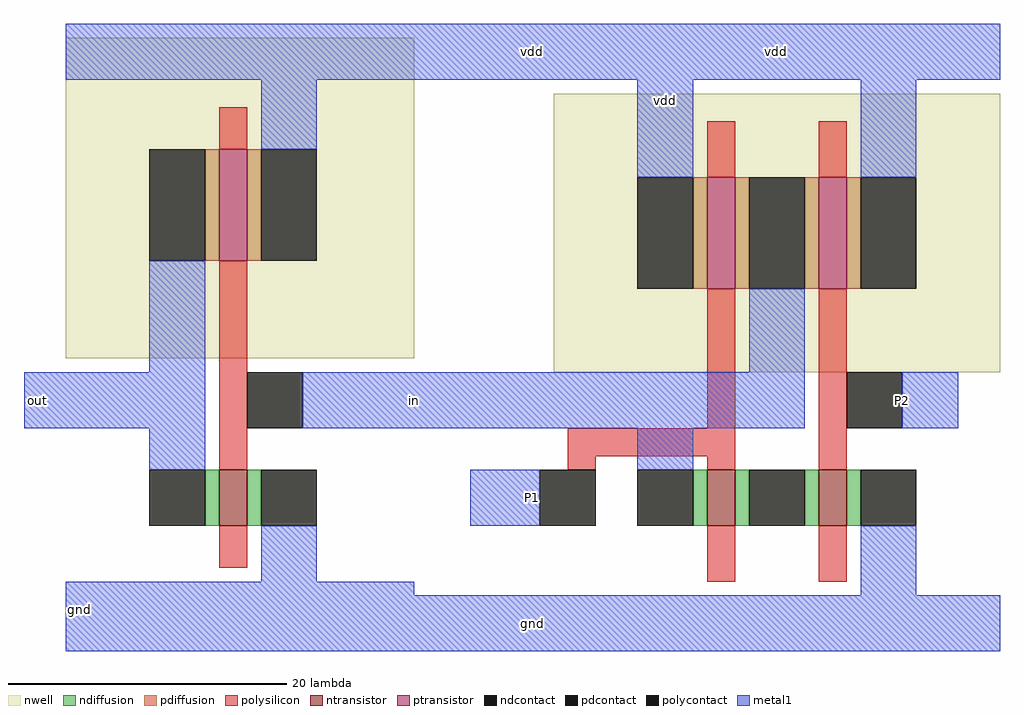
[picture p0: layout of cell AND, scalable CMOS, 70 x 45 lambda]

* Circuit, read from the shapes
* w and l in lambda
.subckt AND P1 P2 gnd in out vdd
M1 gnd in out VSUBS nfet w=4 l=2
M2 n1 P1 in VSUBS nfet w=4 l=2
M3 gnd P2 n1 VSUBS nfet w=4 l=2
M4 vdd in out n2 pfet w=8 l=2
M5 in P1 vdd n3 pfet w=8 l=2
M6 vdd P2 in n3 pfet w=8 l=2
.ends

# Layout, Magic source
magic
tech scmos
<< nwell >>
rect -29 25 -4 48
rect 6 24 38 44
<< ntransistor >>
rect -18 13 -16 17
rect 17 13 19 17
rect 25 13 27 17
<< ptransistor >>
rect -18 32 -16 40
rect 17 30 19 38
rect 25 30 27 38
<< ndiffusion >>
rect -19 13 -18 17
rect -16 13 -15 17
rect 16 13 17 17
rect 19 13 20 17
rect 24 13 25 17
rect 27 13 28 17
<< pdiffusion >>
rect -19 32 -18 40
rect -16 32 -15 40
rect 16 30 17 38
rect 19 30 20 38
rect 24 30 25 38
rect 27 30 28 38
<< ndcontact >>
rect -23 13 -19 17
rect -15 13 -11 17
rect 12 13 16 17
rect 20 13 24 17
rect 28 13 32 17
<< pdcontact >>
rect -23 32 -19 40
rect -15 32 -11 40
rect 12 30 16 38
rect 20 30 24 38
rect 28 30 32 38
<< polysilicon >>
rect -18 40 -16 43
rect 17 38 19 42
rect 25 38 27 42
rect -18 17 -16 32
rect 17 20 19 30
rect 7 18 19 20
rect 7 17 9 18
rect 17 17 19 18
rect 25 17 27 30
rect -18 10 -16 13
rect 17 9 19 13
rect 25 9 27 13
<< polycontact >>
rect -16 20 -12 24
rect 27 20 31 24
rect 5 13 9 17
<< metal1 >>
rect -29 45 38 49
rect -15 40 -11 45
rect 12 38 16 45
rect 28 38 32 45
rect -23 24 -19 32
rect 20 24 24 30
rect -32 20 -19 24
rect -12 20 24 24
rect 31 20 35 24
rect -23 17 -19 20
rect 12 17 16 20
rect 0 13 5 17
rect -15 9 -11 13
rect -29 8 -4 9
rect 28 8 32 13
rect -29 4 38 8
<< labels >>
rlabel metal1 27 20 35 24 1 P2
rlabel metal1 0 13 9 17 3 P1
rlabel metal1 -28 7 -28 7 2 gnd
rlabel metal1 -31 22 -31 22 3 out
rlabel metal1 -4 22 -4 22 7 in
rlabel metal1 6 45 38 49 5 vdd
rlabel metal1 -29 45 38 49 5 vdd
rlabel metal1 -29 4 38 8 1 gnd
rlabel metal1 12 38 16 49 1 vdd
<< end >>
